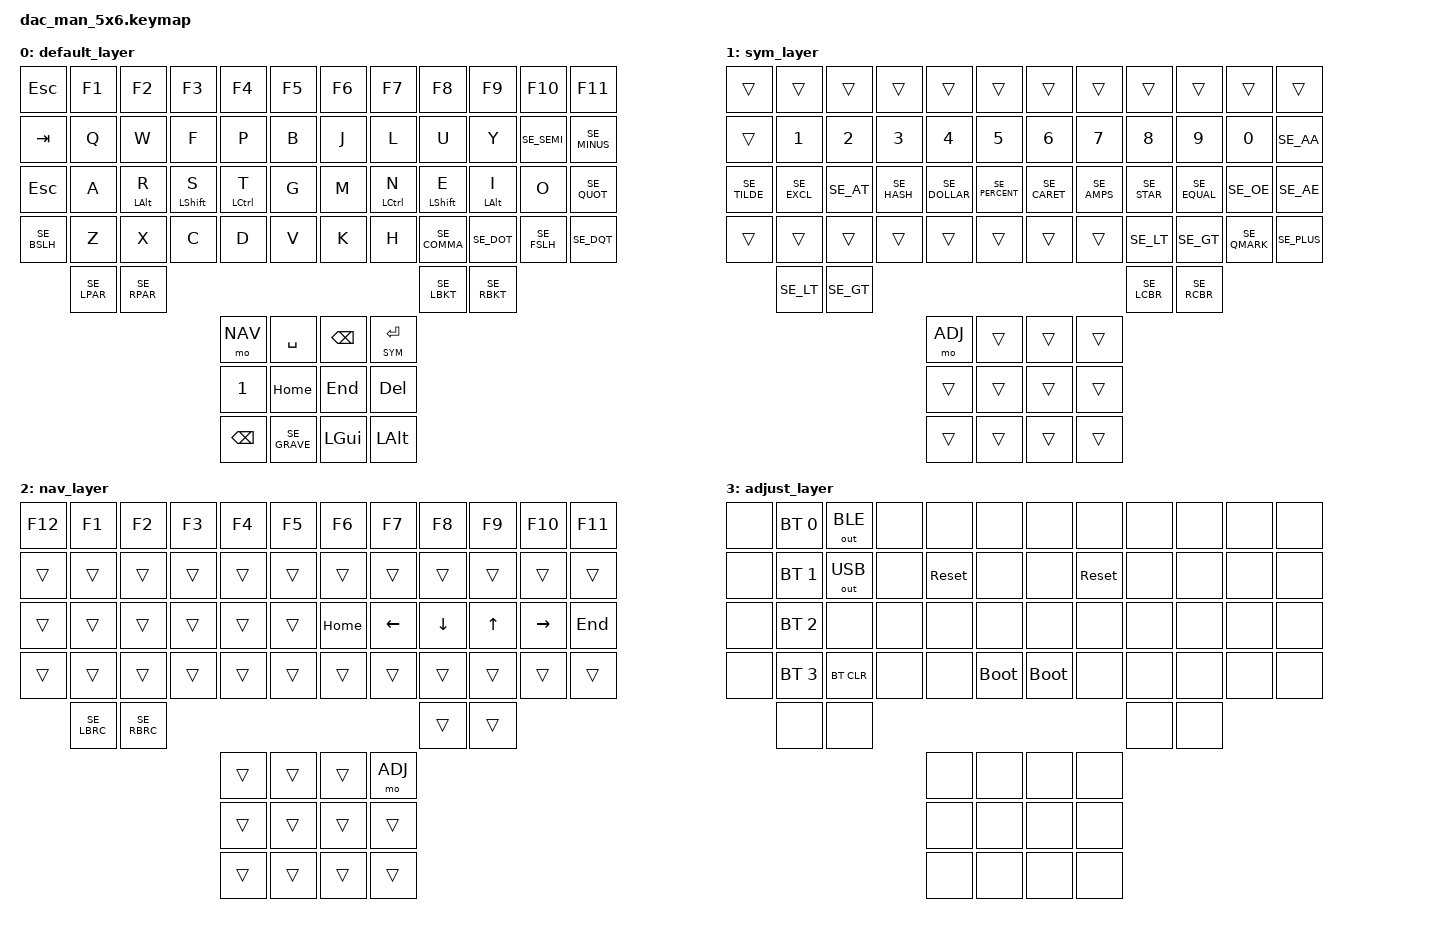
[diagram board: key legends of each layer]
#include <behaviors.dtsi>
#include <dt-bindings/zmk/keys.h>
#include <dt-bindings/zmk/bt.h>
#include <dt-bindings/zmk/outputs.h>

// Linux OS
#define HOST_OS 1
#include "zmk-helpers/helper.h"

#include "swedish.h"

#define DEFAULT 0
#define SYM 1
#define NAV 2
#define ADJ 3

/ {

    keymap {
        compatible = "zmk,keymap";

        default_layer {
            bindings = <
                &kp ESC      &kp F1 &kp F2     &kp F3      &kp F4       &kp F5              &kp F6 &kp F7       &kp F8       &kp F9       &kp F10     &kp F11
                &kp TAB      &kp Q  &kp W      &kp F       &kp P        &kp B               &kp J  &kp L        &kp U        &kp Y        &kp SE_SEMI &kp SE_MINUS
                &kp ESC      &kp A  &mt LALT R &mt LSHFT S &mt LCTRL T  &kp G               &kp M  &mt LCTRL N  &mt LSHFT E  &mt LALT I   &kp O       &kp SE_QUOT
                &kp SE_BSLH  &kp Z  &kp X      &kp C       &kp D        &kp V               &kp K  &kp H        &kp SE_COMMA &kp SE_DOT   &kp SE_FSLH &kp SE_DQT
                               &kp SE_LPAR   &kp SE_RPAR                                                      &kp SE_LBKT   &kp SE_RBKT
                                                         &mo NAV  &kp SPACE                &kp BSPC &lt SYM ENTER
                                                         &kp N1   &kp HOME                 &kp END  &kp DEL
                                                         &kp BSPC &kp SE_GRAVE             &kp LGUI &kp LALT
            >;
        };

        sym_layer {
            bindings = <
                &trans  &trans   &trans &trans   &trans     &trans                &trans    &trans   &trans   &trans    &trans    &trans
                &trans  &kp N1    &kp N2  &kp N3    &kp N4      &kp N5                 &kp N6     &kp N7    &kp N8    &kp N9     &kp N0     &kp SE_AA
                &kp SE_TILDE  &kp SE_EXCL &kp SE_AT &kp SE_HASH &kp SE_DOLLAR &kp SE_PERCENT           &kp SE_CARET &kp SE_AMPS &kp SE_STAR &kp SE_EQUAL &kp SE_OE &kp SE_AE
                &trans  &trans   &trans &trans   &trans     &trans                &trans    &trans   &kp SE_LT   &kp SE_GT    &kp SE_QMARK    &kp SE_PLUS
                                 &kp SE_LT &kp SE_GT                                                       &kp SE_LCBR   &kp SE_RCBR
                                             &mo ADJ &trans               &trans &trans
                                             &trans  &trans               &trans &trans
                                             &trans  &trans               &trans &trans
            >;
        };

        nav_layer {
            bindings = <
                &kp F12 &kp F1 &kp F2 &kp F3 &kp F4 &kp F5                &kp F6 &kp F7  &kp F8   &kp F9 &kp F10   &kp F11
                &trans  &trans &trans &trans &trans &trans                &trans &trans  &trans   &trans &trans    &trans
                &trans  &trans &trans &trans &trans &trans                &kp HOME &kp LEFT &kp DOWN &kp UP &kp RIGHT &kp END
                &trans  &trans &trans &trans &trans &trans                &trans &trans  &trans   &trans &trans    &trans
                               &kp SE_LBRC &kp SE_RBRC                                         &trans   &trans
                                             &trans &trans                &trans &mo ADJ
                                             &trans &trans                &trans &trans
                                             &trans &trans                &trans &trans
            >;
        };

        adjust_layer {
            bindings = <
                &none &bt BT_SEL 0 &out OUT_BLE &none &none  &none            &none       &none  &none &none &none &none
                &none &bt BT_SEL 1 &out OUT_USB &none &sys_reset &none            &none       &sys_reset &none &none &none &none
                &none &bt BT_SEL 2 &none        &none &none  &none            &none       &none  &none &none &none &none
                &none &bt BT_SEL 3 &bt BT_CLR   &none &none  &bootloader      &bootloader &none  &none &none &none &none
                                   &none        &none                                            &none &none
                                                      &none &none             &none &none
                                                      &none &none             &none &none
                                                      &none &none             &none &none
            >;
        };
    };
};
